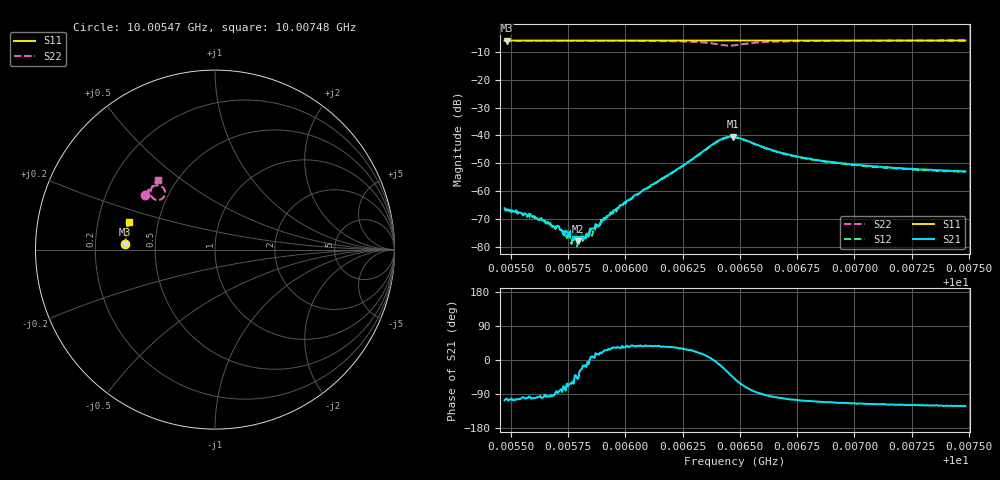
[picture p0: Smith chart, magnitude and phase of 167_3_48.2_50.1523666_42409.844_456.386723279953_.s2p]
#  HZ  S  RI  R  50.00
! Rohde & Schwarz Vector Network Analyzer
! Rohde-Schwarz,ZNB20-2Port,1311601062101988,3.16
! Created: UTC 3/20/2024, 11:43:35 AM
! freq[Hz]  re:S11  im:S11  re:S21  im:S21  re:S12  im:S12  re:S22  im:S22
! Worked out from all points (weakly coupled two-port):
!   401 points, 10.00547 GHz to 10.00748 GHz, reference 50 ohm
!   highest |S21| = -40.41 dB at 10.00647 GHz (marker M1); lowest = -78.0 dB at 10.00579 GHz (marker M2)
!   lowest |S11| = -6.0 dB at 10.00548 GHz (marker M3), VSWR 3.00, Z = 16.7 + j1.29 ohm
!   |S11| at or under -10 dB: nowhere
!   |S22| runs from -7.8 to -6.0 dB; largest |S21 - S12| = 0.00057
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1.0005473e10  -0.4998 0.0284  -0.000139 -0.000477  -6.95e-05 -0.000455  -0.391 0.3058
1.0005483e10  -0.4997 0.0291  -9.76e-05 -0.000466  -9.93e-05 -0.000463  -0.3907 0.3066
1.0005589e10  -0.4995 0.0359  -7.79e-05 -0.000364  -6.75e-05 -0.000345  -0.386 0.3128
1.0005689e10  -0.4991 0.0424  -1.42e-05 -0.000232  2.14e-05 -0.000247  -0.3812 0.319
1.0005709e10  -0.4991 0.0437  2.98e-05 -0.000232  4.33e-05 -0.000231  -0.3803 0.3203
1.0005724e10  -0.499 0.0448  1.94e-05 -0.000198  3.28e-06 -0.000189  -0.3794 0.3212
1.0005755e10  -0.4989 0.0467  6.58e-05 -0.000136  9.22e-05 -0.000148  -0.3777 0.3229
1.0005795e10  -0.4987 0.0493  8.23e-05 -9.54e-05  0.000128 -9.34e-05  -0.3757 0.3255
1.000581e10  -0.4987 0.0502  0.000165 -7.28e-05  0.000133 -8.51e-05  -0.3749 0.3264
1.000583e10  -0.4985 0.0515  0.000139 -4.5e-05  0.000165 -4.27e-05  -0.3738 0.3278
1.000586e10  -0.4986 0.0536  0.000213 2.5e-05  0.000194 2.42e-05  -0.372 0.3297
1.000589e10  -0.4982 0.0555  0.000257 9.4e-05  0.000228 9.6e-05  -0.3701 0.3318
1.0005946e10  -0.498 0.059  0.000362 0.000241  0.000333 0.000222  -0.3666 0.3353
1.0006006e10  -0.4975 0.0629  0.000536 0.000415  0.000526 0.000416  -0.362 0.3395
1.0006147e10  -0.4967 0.0721  0.00124 0.000923  0.00117 0.000959  -0.3484 0.3499
1.0006403e10  -0.4937 0.0884  0.00787 -0.00114  0.00771 -0.000751  -0.2797 0.3277
1.0006469e10  -0.4931 0.0921  0.00675 -0.00674  0.00689 -0.00624  -0.3001 0.2803
1.0006479e10  -0.493 0.0927  0.00596 -0.00728  0.00622 -0.00681  -0.3079 0.2773
1.0006675e10  -0.4916 0.1053  -0.000849 -0.00488  -0.000631 -0.00486  -0.3594 0.3245
1.0006815e10  -0.4901 0.1142  -0.00121 -0.00356  -0.00106 -0.00352  -0.353 0.3444
1.0007152e10  -0.4851 0.1356  -0.00126 -0.00235  -0.00111 -0.00237  -0.3347 0.3707
1.0007484e10  -0.4797 0.1561  -0.00121 -0.00192  -0.00108 -0.00198  -0.3174 0.3886
